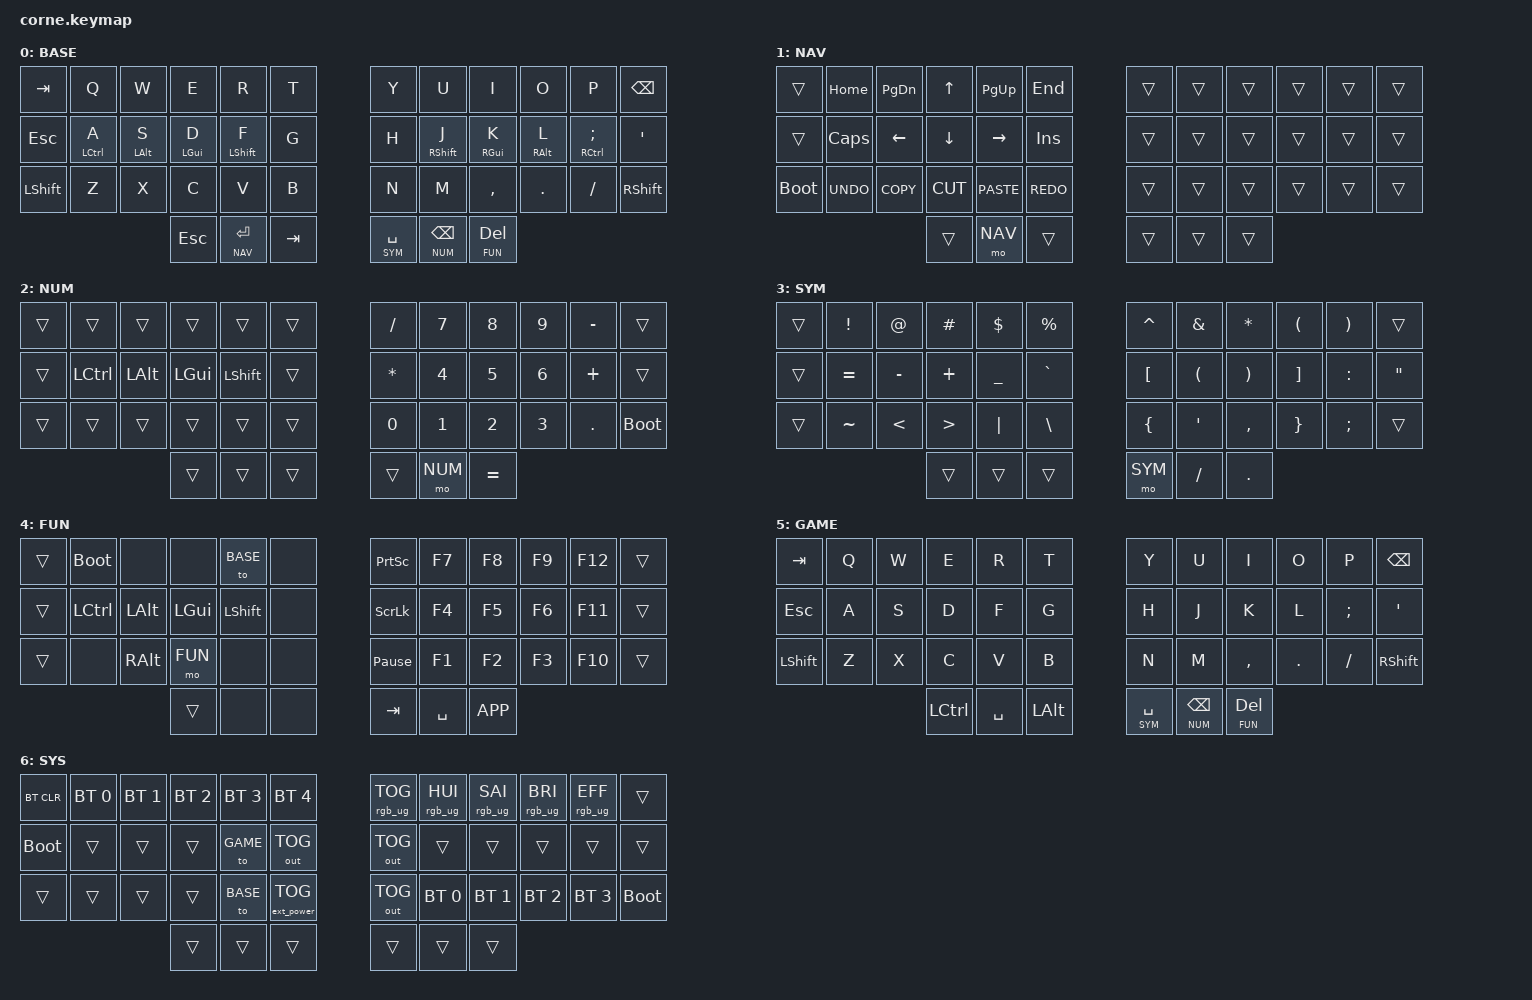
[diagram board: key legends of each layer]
/*
 * Unified Miryoku-inspired keymap for Corne keyboard
 * Uses Miryoku layer structure with urob's num layer
 * Copyright (c) 2020 The ZMK Contributors
 * SPDX-License-Identifier: MIT
 */

#include <zmk-helpers/helper.h>
#include <zmk-helpers/key-labels/42.h>
#include <behaviors/num_word.dtsi>
#include <behaviors.dtsi>
#include <dt-bindings/zmk/bt.h>
#include <dt-bindings/zmk/keys.h>
#include <dt-bindings/zmk/outputs.h>
#include <dt-bindings/zmk/ext_power.h>
#include <dt-bindings/led/led.h>
#include <dt-bindings/zmk/backlight.h>
#include <dt-bindings/zmk/rgb.h>
#include <dt-bindings/zmk/reset.h>
#include <dt-bindings/zmk/mouse.h>

&led_strip {
    chain-length = <27>;
};

// Layer definitions
#define BASE 0
#define NAV 1
#define NUM 2
#define SYM 3
#define FUN 4
#define GAME 5
#define SYS 6

// Key position groups for positional hold-tap
#define KEYS_L LT0 LT1 LT2 LT3 LT4 LT5 LM0 LM1 LM2 LM3 LM4 LM5 LB0 LB1 LB2 LB3 LB4 LB5  // Left hand
#define KEYS_R RT0 RT1 RT2 RT3 RT4 RT5 RM0 RM1 RM2 RM3 RM4 RM5 RB0 RB1 RB2 RB3 RB4 RB5  // Right hand
#define THUMBS LH2 LH1 LH0 RH0 RH1 RH2  // Thumb keys

/ {
    behaviors {
        // Home row mods - left hand (urob's timing)
        hml: homerow_mods_left {
            compatible = "zmk,behavior-hold-tap";
            #binding-cells = <2>;
            flavor = "balanced";
            tapping-term-ms = <280>;
            quick-tap-ms = <175>;
            require-prior-idle-ms = <150>;
            bindings = <&kp>, <&kp>;
            hold-trigger-key-positions = <KEYS_R THUMBS>;
            hold-trigger-on-release;
        };

        // Home row mods - right hand (urob's timing)
        hmr: homerow_mods_right {
            compatible = "zmk,behavior-hold-tap";
            #binding-cells = <2>;
            flavor = "balanced";
            tapping-term-ms = <280>;
            quick-tap-ms = <175>;
            require-prior-idle-ms = <150>;
            bindings = <&kp>, <&kp>;
            hold-trigger-key-positions = <KEYS_L THUMBS>;
            hold-trigger-on-release;
        };

        // Tap-dance for numword: tap=numword, double-tap=sticky layer
        num_dance: num_dance {
            compatible = "zmk,behavior-tap-dance";
            #binding-cells = <0>;
            tapping-term-ms = <200>;
            bindings = <&num_word NUM>, <&sl NUM>;
        };

        // Smart-num: hold=momentary NUM, tap=numword
        smart_num: smart_num {
            compatible = "zmk,behavior-hold-tap";
            #binding-cells = <2>;
            flavor = "balanced";
            tapping-term-ms = <200>;
            quick-tap-ms = <175>;
            bindings = <&mo>, <&num_dance>;
        };
    };

    combos {
        compatible = "zmk,combos";

        // Combo to access SYS layer from GAME mode (TAB + LSHIFT on left side)
        combo_game_sys {
            timeout-ms = <50>;
            key-positions = <0 24>; // TAB + LSHIFT positions
            bindings = <&mo SYS>;
            layers = <GAME>;
        };

        // Combo to access SYS layer from BASE layer (TAB + LSHIFT on left side)
        combo_base_sys {
            timeout-ms = <50>;
            key-positions = <0 24>; // TAB + LSHIFT positions
            bindings = <&mo SYS>;
            layers = <BASE>;
        };
    };

    keymap {
        compatible = "zmk,keymap";

        // BASE LAYER - QWERTY with urob's home row mods (CAGS order)
        base_layer {
            display-name = "BASE";
            // -----------------------------------------------------------------------------------------
            // | TAB |  Q  |  W  |  E  |  R  |  T  |   |  Y  |  U   |  I  |  O  |  P  | BSPC |
            // | ESC | CTRL| ALT | GUI |SHFT |  G  |   |  H  |SHFT  | GUI | ALT | CTRL|  '   |
            //       |  A  |  S  |  D  |  F  |     |   |     |  J   |  K  |  L  |  ;  |      |
            // | SHFT|  Z  |  X  |  C  |  V  |  B  |   |  N  |  M   |  ,  |  .  |  /  | SHFT |
            //                   | ESC | NAV | TAB |   | SYM | NUM  | FUN |
            //                   |     | RET |     |   | SPC | BSP  | DEL |

            bindings = <
&kp TAB    &kp Q          &kp W        &kp E         &kp R         &kp T             &kp Y         &kp U           &kp I         &kp O        &kp P            &kp BSPC
&kp ESC    &hml LCTRL A   &hml LALT S  &hml LGUI D   &hml LSHFT F  &kp G             &kp H         &hmr RSHFT J    &hmr RGUI K   &hmr RALT L  &hmr RCTRL SEMI  &kp SQT
&kp LSHFT  &kp Z          &kp X        &kp C         &kp V         &kp B             &kp N         &kp M           &kp COMMA     &kp DOT      &kp FSLH         &kp RSHFT
                                       &kp ESC       &lt NAV RET   &kp TAB           &lt SYM SPACE &lt NUM BSPC    &lt FUN DEL
            >;
        };

        // NAV LAYER - Navigation (one-handed left side, ESDF arrows)
        nav_layer {
            display-name = "NAV";
            // -----------------------------------------------------------------------------------------
            // |     |     |     | UP  |     |     |   |     |     |     |     |     |      |
            // |     |     | LEFT| DOWN|RIGHT|     |   |     |     |     |     |     |      |
            //       |     | (E) | (S) | (D) | (F) |
            // |BOOT |UNDO |COPY | CUT |PASTE|REDO |   |     |     |     |     |     |      |
            //                   |     | NAV |PG_UP|   |     |     |     |
            //                               |PG_DN|

            bindings = <
&trans       &kp HOME   &kp PG_DN  &kp UP     &kp PG_UP   &kp END       &trans  &trans  &trans  &trans  &trans  &trans
&trans       &kp CAPS   &kp LEFT   &kp DOWN   &kp RIGHT   &kp INS       &trans  &trans  &trans  &trans  &trans  &trans
&bootloader  &kp K_UNDO &kp K_COPY &kp K_CUT  &kp K_PASTE &kp K_REDO    &trans  &trans  &trans  &trans  &trans  &trans
                                   &trans     &mo NAV     &trans        &trans  &trans  &trans
            >;
        };

        // NUM LAYER - Number pad (one-handed right side, activated by right thumb)
        num_layer {
            display-name = "NUM";
            // -----------------------------------------------------------------------------------------
            // |     |     |     |     |     |     |   |  /  |  7  |  8  |  9  |  -  |      |
            // |     | CTRL| ALT | GUI |SHFT |     |   |  *  |  4  |  5  |  6  |  +  |      |
            // |     |     |     |     |     |     |   |  0  |  1  |  2  |  3  |  .  | BOOT |
            //                   |     |     |     |   |     | NUM |  =  |

            bindings = <
&trans  &trans     &trans    &trans    &trans     &trans    &kp FSLH  &kp N7  &kp N8  &kp N9  &kp MINUS  &trans
&trans  &kp LCTRL  &kp LALT  &kp LGUI  &kp LSHFT  &trans    &kp STAR  &kp N4  &kp N5  &kp N6  &kp PLUS   &trans
&trans  &trans     &trans    &trans    &trans     &trans    &kp N0    &kp N1  &kp N2  &kp N3  &kp DOT    &bootloader
                             &trans    &trans     &trans    &trans    &mo NUM &kp EQUAL
            >;
        };

        // SYM LAYER - Symbols (Traditional number row + Python/JS optimized)
        sym_layer {
            display-name = "SYM";
            // -----------------------------------------------------------------------------------------
            // |     |  !  |  @  |  #  |  $  |  %  |   |  ^  |  &  |  *  |  (  |  )  | BSPC |
            // |     |  =  |  -  |  +  |  _  |  `  |   |  [  |  (  |  )  |  ]  |  :  |  "   |
            // |     |  ~  |  <  |  >  |  |  |  \  |   |  {  |  '  |  ,  |  }  |  ;  |      |
            //                   |     |     |     |   | SYM |  /  |  .  |

            bindings = <
&trans  &kp EXCL   &kp AT    &kp HASH  &kp DLLR  &kp PRCNT    &kp CARET &kp AMPS  &kp ASTRK &kp LPAR  &kp RPAR  &trans
&trans  &kp EQUAL  &kp MINUS &kp PLUS  &kp UNDER &kp GRAVE    &kp LBKT  &kp LPAR  &kp RPAR  &kp RBKT  &kp COLON &kp DQT
&trans  &kp TILDE  &kp LT    &kp GT    &kp PIPE  &kp BSLH     &kp LBRC  &kp SQT   &kp COMMA &kp RBRC  &kp SEMI  &trans
                              &trans    &trans    &trans       &mo SYM   &kp FSLH  &kp DOT
            >;
        };

        // FUN LAYER - Function keys (Miryoku flipped: right hand function keys)
        fun_layer {
            display-name = "FUN";
            // -----------------------------------------------------------------------------------------
            // |BOOT |     |     |BASE |     |   |PSCR | F7  | F8  | F9  | F12 |
            // | CTRL| ALT | GUI |SHFT |     |   |SLCK | F4  | F5  | F6  | F11 |
            // |     |RALT | FUN |     |     |   |PAUS | F1  | F2  | F3  | F10 |
            //             |     |     |     |   | TAB | SPC | APP |

            bindings = <
&trans      &bootloader &none     &none      &to BASE   &none     &kp PSCRN        &kp F7     &kp F8     &kp F9     &kp F12  &trans
&trans      &kp LCTRL   &kp LALT  &kp LGUI   &kp LSHFT  &none     &kp SLCK         &kp F4     &kp F5     &kp F6     &kp F11  &trans
&trans      &none       &kp RALT  &mo FUN    &none      &none     &kp PAUSE_BREAK  &kp F1     &kp F2     &kp F3     &kp F10  &trans
                                  &trans     &none      &none     &kp TAB          &kp SPACE  &kp K_APP
            >;
        };

        // GAME LAYER - Gaming mode (no home row mods, instant key response)
        game_layer {
            display-name = "GAME";
            // -----------------------------------------------------------------------------------------
            // | TAB |  Q  |  W  |  E  |  R  |  T  |   |  Y  |  U   |  I  |  O  |  P  | BSPC |
            // | ESC |  A  |  S  |  D  |  F  |  G  |   |  H  |  J   |  K  |  L  |  ;  |  '   |
            // | SHFT|  Z  |  X  |  C  |  V  |  B  |   |  N  |  M   |  ,  |  .  |  /  | SHFT |
            //                   | CTRL| SPC | ALT |   | SYM | NUM  | FUN |
            // TAB+SHIFT combo opens SYS layer to toggle back to BASE

            bindings = <
&kp TAB    &kp Q      &kp W      &kp E      &kp R      &kp T         &kp Y         &kp U        &kp I         &kp O        &kp P         &kp BSPC
&kp ESC    &kp A      &kp S      &kp D      &kp F      &kp G         &kp H         &kp J        &kp K         &kp L        &kp SEMI      &kp SQT
&kp LSHFT  &kp Z      &kp X      &kp C      &kp V      &kp B         &kp N         &kp M        &kp COMMA     &kp DOT      &kp FSLH      &kp RSHFT
                                 &kp LCTRL  &kp SPACE  &kp LALT      &lt SYM SPACE &lt NUM BSPC &lt FUN DEL
            >;
        };

        // SYS LAYER - System (includes GAME mode toggle)
        sys_layer {
            display-name = "SYS";
            // -----------------------------------------------------------------------------------------
            // |BTCLR| BT0 | BT1 | BT2 | BT3 | BT4 |   | RGB | RGB | RGB | RGB | RGB |      |
            // |BOOT |     |     |     |GAME | OUT |   | TOG | HUI | SAI | BRI | EFF |      |
            // |     |     |     |     |BASE |EP_TOG|  | OUT | BT0 | BT1 | BT2 | BT3 | BOOT |
            //                   |     |     |     |   |     |     |     |

            bindings = <
&bt BT_CLR   &bt BT_SEL 0  &bt BT_SEL 1  &bt BT_SEL 2  &bt BT_SEL 3  &bt BT_SEL 4       &rgb_ug RGB_TOG   &rgb_ug RGB_HUI &rgb_ug RGB_SAI &rgb_ug RGB_BRI &rgb_ug RGB_EFF  &trans
&bootloader  &trans        &trans        &trans        &to GAME      &out OUT_TOG       &out OUT_TOG      &trans          &trans          &trans          &trans           &trans
&trans       &trans        &trans        &trans        &to BASE      &ext_power EP_TOG  &out OUT_TOG      &bt BT_SEL 0    &bt BT_SEL 1    &bt BT_SEL 2    &bt BT_SEL 3     &bootloader
                                         &trans        &trans        &trans             &trans            &trans          &trans
            >;
        };

        // Reserved layers for ZMK Studio
        extra_1 {
            status = "reserved";
        };

        extra_2 {
            status = "reserved";
        };

        extra_3 {
            status = "reserved";
        };
    };
};
